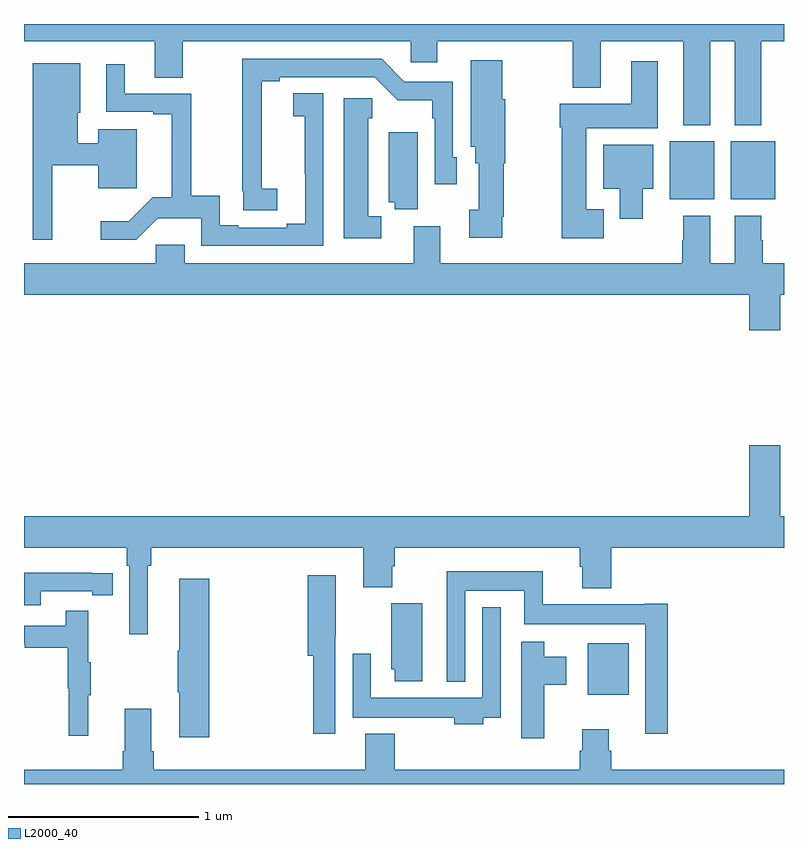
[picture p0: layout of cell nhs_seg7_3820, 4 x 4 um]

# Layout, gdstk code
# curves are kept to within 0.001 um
import gdstk
lib = gdstk.Library(unit=1e-6, precision=1e-09)
def R(c, l, rs):  # rectangles x0, y0, x1, y1
    for r in rs: c.add(gdstk.rectangle(r[:2], r[2:], *l))
def P(c, l, *ps):  # polygons
    for p in ps: c.add(gdstk.Polygon(p, *l))
L2000_40 = (2000, 40)

nhs_seg7_3820 = lib.new_cell('nhs_seg7_3820')
R(nhs_seg7_3820, L2000_40, [(355.967,1038.47,356.182,1038.742), (356.399,1041.077,356.632,1041.382), (356.72,1041.077,356.953,1041.382)])
P(nhs_seg7_3820, L2000_40, [(356.611,1041.908),(356.741,1041.908),(356.741,1041.467),(356.881,1041.467),(356.881,1041.908),(357,1041.908),(357,1042),(353,1042),(353,1041.908),(353.687,1041.908),(353.687,1041.718),(353.835,1041.718),(353.835,1041.908),(355.035,1041.908),(355.035,1041.798),(355.174,1041.798),(355.174,1041.908),(355.888,1041.908),(355.888,1041.665),(356.035,1041.665),(356.035,1041.908),(356.471,1041.908),(356.471,1041.467),(356.611,1041.467)],
  [(354.334,1041.134),(354.252,1041.134),(354.25,1041.7),(354.346,1041.7),(354.346,1041.72),(354.846,1041.72),(354.967,1041.599),(355.149,1041.599),(355.149,1041.503),(355.161,1041.503),(355.161,1041.156),(355.278,1041.156),(355.278,1041.3),(355.257,1041.3),(355.257,1041.696),(355.002,1041.696),(354.882,1041.816),(354.148,1041.816),(354.148,1041.121),(354.154,1041.121),(354.154,1041.019),(354.334,1041.019)],
  [(355.516,1040.986),(355.524,1040.986),(355.524,1041.267),(355.534,1041.267),(355.534,1041.603),(355.516,1041.603),(355.516,1041.808),(355.352,1041.808),(355.352,1041.354),(355.376,1041.354),(355.376,1041.267),(355.394,1041.267),(355.394,1041.022),(355.344,1041.022),(355.344,1040.874),(355.516,1040.874)],
  [(356.05,1041.025),(355.96,1041.025),(355.96,1041.452),(356.335,1041.452),(356.335,1041.805),(356.195,1041.805),(356.195,1041.58),(355.82,1041.58),(355.82,1041.456),(355.831,1041.456),(355.831,1040.873),(356.05,1040.873)],
  [(353.149,1041.256),(353.39,1041.256),(353.39,1041.135),(353.593,1041.135),(353.593,1041.445),(353.39,1041.445),(353.39,1041.373),(353.284,1041.373),(353.284,1041.534),(353.296,1041.534),(353.296,1041.793),(353.045,1041.793),(353.045,1040.865),(353.149,1040.865)],
  [(354.576,1041.635),(354.417,1041.635),(354.417,1041.515),(354.478,1041.515),(354.479,1040.948),(354.383,1040.948),(354.383,1040.928),(354.127,1040.928),(354.127,1040.942),(354.03,1040.942),(354.03,1041.095),(353.879,1041.095),(353.879,1041.633),(353.53,1041.633),(353.53,1041.787),(353.432,1041.787),(353.432,1041.537),(353.681,1041.537),(353.681,1041.525),(353.777,1041.525),(353.777,1041.088),(353.677,1041.088),(353.551,1040.962),(353.403,1040.962),(353.403,1040.865),(353.592,1040.865),(353.705,1040.978),(353.934,1040.978),(353.934,1040.832),(354.576,1040.832)],
  [(354.88,1040.988),(354.811,1040.988),(354.811,1041.504),(354.833,1041.504),(354.833,1041.61),(354.683,1041.61),(354.683,1040.873),(354.88,1040.873)],
  [(355.072,1041.43),(354.92,1041.43),(354.92,1041.062),(354.952,1041.062),(354.952,1041.025),(355.072,1041.025)],
  [(356.257,1041.134),(356.311,1041.134),(356.311,1041.364),(356.048,1041.364),(356.048,1041.134),(356.135,1041.134),(356.135,1040.976),(356.257,1040.976)],
  [(356.816,1040.388),(356.98,1040.388),(356.98,1040.576),(357,1040.576),(357,1040.74),(356.889,1040.74),(356.889,1040.861),(356.881,1040.861),(356.881,1040.992),(356.741,1040.992),(356.741,1040.74),(356.611,1040.74),(356.611,1040.992),(356.471,1040.992),(356.471,1040.861),(356.464,1040.861),(356.464,1040.74),(355.192,1040.74),(355.192,1040.935),(355.052,1040.935),(355.052,1040.74),(353.845,1040.74),(353.845,1040.838),(353.694,1040.838),(353.694,1040.74),(353,1040.74),(353,1040.576),(356.816,1040.576)],
  [(353.65,1039.148),(353.669,1039.148),(353.669,1039.244),(354.785,1039.244),(354.785,1039.036),(354.937,1039.036),(354.937,1039.145),(354.95,1039.145),(354.95,1039.244),(355.925,1039.244),(355.925,1039.143),(355.937,1039.143),(355.937,1039.031),(356.09,1039.031),(356.09,1039.244),(357,1039.244),(357,1039.408),(356.98,1039.408),(356.98,1039.783),(356.816,1039.783),(356.816,1039.408),(353,1039.408),(353,1039.244),(353.54,1039.244),(353.54,1039.148),(353.553,1039.148),(353.553,1038.789),(353.65,1038.789)],
  [(356.387,1038.949),(356.264,1038.949),(356.264,1038.946),(355.73,1038.946),(355.73,1039.12),(355.226,1039.12),(355.226,1038.539),(355.323,1038.539),(355.323,1039.016),(355.632,1039.016),(355.632,1038.842),(356.271,1038.842),(356.271,1038.264),(356.387,1038.264)],
  [(353.088,1039.014),(353.36,1039.014),(353.36,1038.994),(353.468,1038.994),(353.468,1039.11),(353.36,1039.11),(353.36,1039.111),(353,1039.111),(353,1038.942),(353.088,1038.942)],
  [(354.639,1038.778),(354.64,1038.778),(354.64,1039.099),(354.494,1039.099),(354.494,1038.674),(354.523,1038.674),(354.523,1038.264),(354.639,1038.264)],
  [(353.975,1039.081),(353.816,1039.081),(353.816,1038.701),(353.809,1038.701),(353.809,1038.484),(353.816,1038.484),(353.816,1038.246),(353.975,1038.246)],
  [(355.096,1038.951),(354.932,1038.951),(354.932,1038.603),(354.95,1038.603),(354.95,1038.54),(355.096,1038.54)],
  [(355.417,1038.348),(355.509,1038.348),(355.509,1038.931),(355.413,1038.931),(355.413,1038.454),(354.825,1038.454),(354.825,1038.685),(354.729,1038.685),(354.729,1038.35),(355.033,1038.35),(355.033,1038.348),(355.265,1038.348),(355.265,1038.314),(355.417,1038.314)],
  [(353.339,1038.467),(353.35,1038.467),(353.35,1038.641),(353.339,1038.641),(353.339,1038.913),(353.221,1038.913),(353.221,1038.834),(353,1038.834),(353,1038.738),(353.005,1038.738),(353.005,1038.718),(353.229,1038.718),(353.229,1038.504),(353.236,1038.504),(353.236,1038.255),(353.339,1038.255)],
  [(355.738,1038.523),(355.855,1038.523),(355.855,1038.67),(355.738,1038.67),(355.738,1038.748),(355.616,1038.748),(355.616,1038.24),(355.738,1038.24)],
  [(357,1038.076),(356.09,1038.076),(356.09,1038.174),(356.077,1038.174),(356.077,1038.289),(355.937,1038.289),(355.937,1038.174),(355.925,1038.174),(355.925,1038.076),(354.95,1038.076),(354.95,1038.265),(354.797,1038.265),(354.797,1038.076),(353.684,1038.076),(353.684,1038.172),(353.671,1038.172),(353.671,1038.397),(353.531,1038.397),(353.531,1038.172),(353.519,1038.172),(353.519,1038.076),(353,1038.076),(353,1038),(357,1038)])

lib.write_gds('nhs_seg7_3820.gds')
